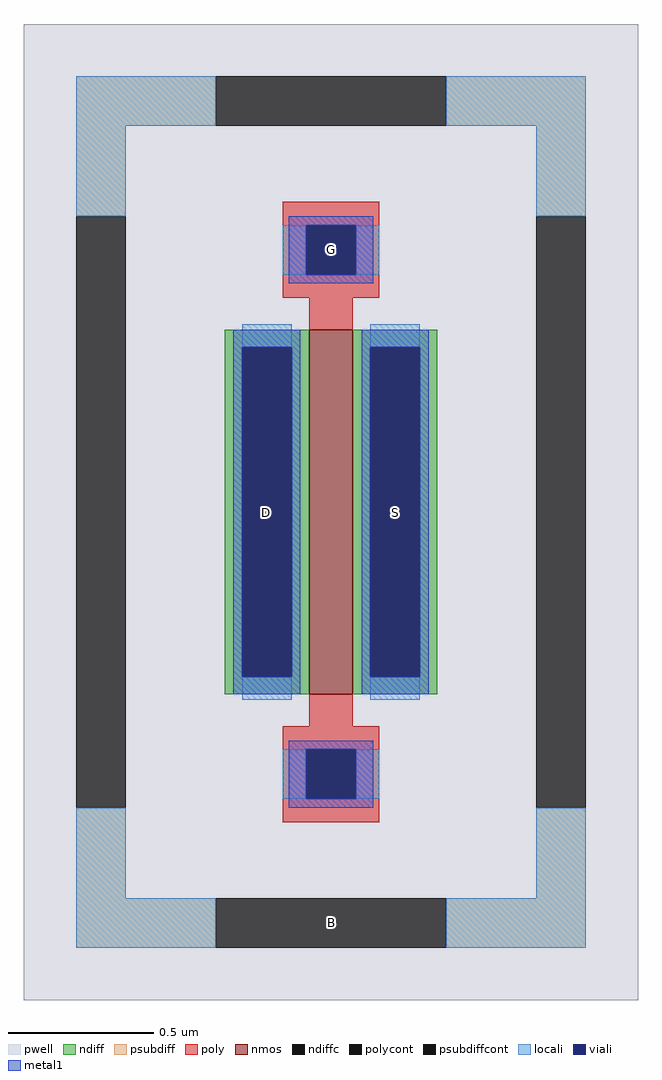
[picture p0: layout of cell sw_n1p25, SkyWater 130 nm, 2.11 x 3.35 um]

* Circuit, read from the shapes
.subckt sw_n1p25 B D S G
XM1 S G D B sky130_fd_pr__nfet_01v8 w=1.25 l=0.15
.ends

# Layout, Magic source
magic
tech sky130A
magscale 1 2
<< pwell >>
rect -211 -335 211 335
<< nmos >>
rect -15 -125 15 125
<< ndiff >>
rect -73 113 -15 125
rect -73 -113 -61 113
rect -27 -113 -15 113
rect -73 -125 -15 -113
rect 15 113 73 125
rect 15 -113 27 113
rect 61 -113 73 113
rect 15 -125 73 -113
<< ndiffc >>
rect -61 -113 -27 113
rect 27 -113 61 113
<< psubdiff >>
rect -175 265 -79 299
rect 79 265 175 299
rect -175 203 -141 265
rect 141 203 175 265
rect -175 -265 -141 -203
rect 141 -265 175 -203
rect -175 -299 -79 -265
rect 79 -299 175 -265
<< psubdiffcont >>
rect -79 265 79 299
rect -175 -203 -141 203
rect 141 -203 175 203
rect -79 -299 79 -265
<< poly >>
rect -33 197 33 213
rect -33 163 -17 197
rect 17 163 33 197
rect -33 147 33 163
rect -15 125 15 147
rect -15 -147 15 -125
rect -33 -163 33 -147
rect -33 -197 -17 -163
rect 17 -197 33 -163
rect -33 -213 33 -197
<< polycont >>
rect -17 163 17 197
rect -17 -197 17 -163
<< locali >>
rect -175 265 -79 299
rect 79 265 175 299
rect -175 203 -141 265
rect 141 203 175 265
rect -33 163 -17 197
rect 17 163 33 197
rect -61 113 -27 129
rect -61 -129 -27 -113
rect 27 113 61 129
rect 27 -129 61 -113
rect -33 -197 -17 -163
rect 17 -197 33 -163
rect -175 -265 -141 -203
rect 141 -265 175 -203
rect -175 -299 -79 -265
rect 79 -299 175 -265
<< viali >>
rect -17 163 17 197
rect -61 -113 -27 113
rect 27 -113 61 113
rect -17 -197 17 -163
<< metal1 >>
rect -29 197 29 203
rect -29 163 -17 197
rect 17 163 29 197
rect -29 157 29 163
rect -67 113 -21 125
rect -67 -113 -61 113
rect -27 -113 -21 113
rect -67 -125 -21 -113
rect 21 113 67 125
rect 21 -113 27 113
rect 61 -113 67 113
rect 21 -125 67 -113
rect -29 -163 29 -157
rect -29 -197 -17 -163
rect 17 -197 29 -163
rect -29 -203 29 -197
<< labels >>
rlabel psubdiffcont 0 -282 0 -282 0 B
port 1 nsew
rlabel ndiffc -44 0 -44 0 0 D
port 2 nsew
rlabel ndiffc 44 0 44 0 0 S
port 3 nsew
rlabel polycont 0 180 0 180 0 G
port 4 nsew
<< properties >>
string FIXED_BBOX -158 -282 158 282
<< end >>
